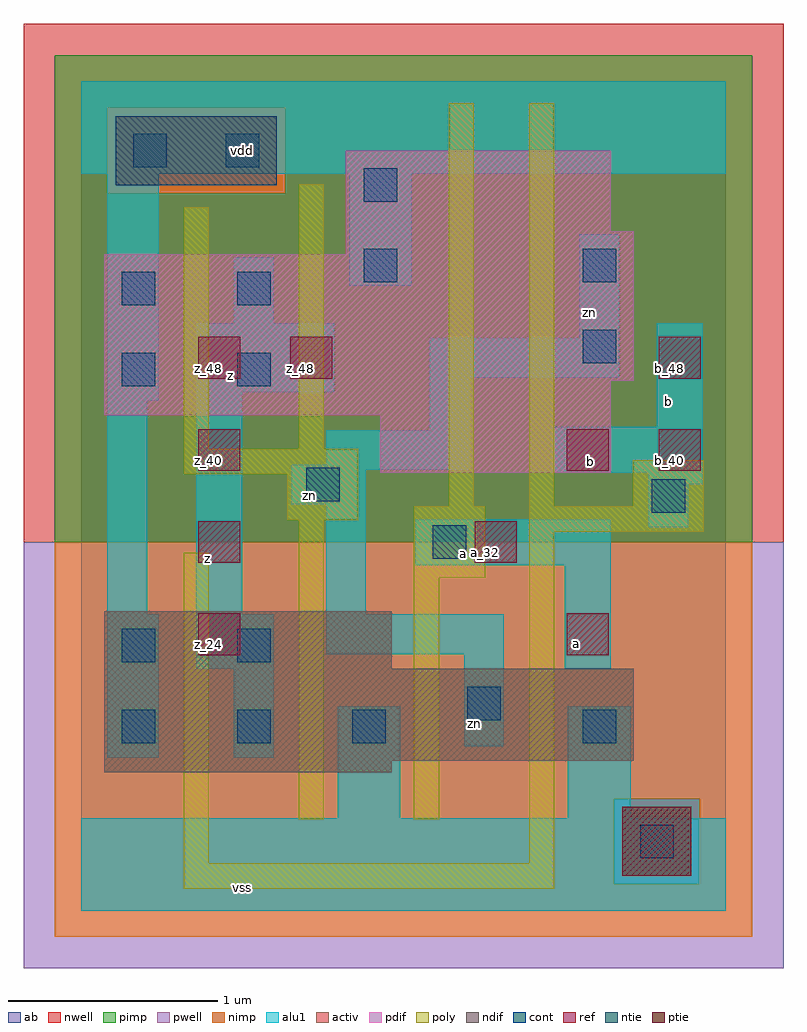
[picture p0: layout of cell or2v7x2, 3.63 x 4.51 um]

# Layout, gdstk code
import gdstk
lib = gdstk.Library(unit=1e-6, precision=2.5e-09)
def R(c, l, rs):  # rectangles x0, y0, x1, y1
    for r in rs: c.add(gdstk.rectangle(r[:2], r[2:], *l))
def A(c, l, x, y, w, h, nx, ny, dx, dy):  # array of equal rectangles
    R(c, l, [(x+i*dx, y+j*dy, x+i*dx+w, y+j*dy+h) for i in range(nx) for j in range(ny)])
ndif = (3, 0)
pdif = (4, 0)
ntie = (5, 0)
ptie = (6, 0)
ref = (24, 0)
cont = (25, 0)
pwell = (41, 0)
nwell = (42, 0)
activ = (43, 0)
pimp = (44, 0)
nimp = (45, 0)
poly = (46, 0)
alu1 = (49, 0)
ab = (63, 0)

or2v7x2 = lib.new_cell('or2v7x2')
R(or2v7x2, ndif, [(0.11,0.66,1.485,0.715), (0.11,0.715,2.64,1.155), (0.11,1.155,1.485,1.43)])
R(or2v7x2, pdif, [(1.43,2.09,2.53,2.365), (0.11,2.365,2.53,2.53), (0.11,2.53,2.64,3.135), (1.265,3.135,2.64,3.245), (1.265,3.245,2.53,3.63)])
R(or2v7x2, ntie, [(0.165,3.465,0.935,3.795)])
R(or2v7x2, ptie, [(2.585,0.165,2.915,0.495)])
A(or2v7x2, ref, 0.56, 1.22, 0.2, 0.2, 1, 4, 0, 0.44)
R(or2v7x2, ref, [(2.32,1.22,2.52,1.42), (1.88,1.66,2.08,1.86), (2.32,2.1,2.52,2.3), (2.76,2.1,2.96,2.3), (1,2.54,1.2,2.74), (2.76,2.54,2.96,2.74)])
A(or2v7x2, cont, 0.195, 0.8, 0.16, 0.16, 3, 1, 0.55, 0)
R(or2v7x2, cont, [(2.67,0.25,2.83,0.41), (2.395,0.8,2.555,0.96), (1.845,0.91,2.005,1.07), (0.195,1.185,0.355,1.345), (0.745,1.185,0.905,1.345), (1.68,1.68,1.84,1.84), (2.725,1.9,2.885,2.06), (1.075,1.955,1.235,2.115), (0.195,2.505,0.355,2.665), (0.745,2.505,0.905,2.665), (2.395,2.615,2.555,2.775), (0.195,2.89,0.355,3.05), (0.745,2.89,0.905,3.05), (1.35,3,1.51,3.16), (2.395,3,2.555,3.16), (1.35,3.385,1.51,3.545), (0.25,3.55,0.41,3.71), (0.69,3.55,0.85,3.71)])
R(or2v7x2, pwell, [(-0.275,-0.275,3.355,1.76)])
R(or2v7x2, nwell, [(-0.275,1.76,3.355,4.235)])
R(or2v7x2, activ, [(2.585,0.165,2.915,0.495), (0.11,0.66,1.485,0.715), (0.11,0.715,2.64,1.155), (0.11,1.155,1.485,1.43), (1.43,2.09,2.53,2.365), (0.11,2.365,2.53,2.53), (0.11,2.53,2.64,3.135), (1.265,3.135,2.64,3.245), (1.265,3.245,2.53,3.63), (0.165,3.465,0.935,3.795)])
R(or2v7x2, pimp, [(2.545,0.125,2.955,0.535), (-0.125,1.76,3.205,3.425), (-0.125,3.425,0.125,3.835), (0.975,3.425,3.205,3.835), (-0.125,3.835,3.205,4.085)])
R(or2v7x2, nimp, [(-0.125,-0.125,3.205,0.125), (-0.125,0.125,2.545,0.535), (2.955,0.125,3.205,0.535), (-0.125,0.535,3.205,1.76), (0.125,3.425,0.975,3.835)])
R(or2v7x2, poly, [(0.49,0.105,2.26,0.225), (0.49,0.225,0.61,1.71), (2.14,0.225,2.26,1.81), (1.04,0.435,1.16,1.865), (1.59,0.435,1.71,1.59), (1.59,1.59,1.93,1.93), (2.14,1.81,2.975,1.93), (0.985,1.865,1.325,2.085), (1.755,1.93,1.875,3.855), (2.14,1.93,2.26,3.855), (2.635,1.93,2.975,2.15), (0.49,2.085,1.325,2.205), (0.49,2.205,0.61,3.36), (1.04,2.205,1.16,3.47)])
R(or2v7x2, alu1, [(0,0,3.08,0.44), (1.225,0.44,1.525,0.975), (2.325,0.44,2.625,0.975), (0.125,0.73,0.37,1.415), (0.73,0.73,0.92,1.155), (1.83,0.785,2.02,1.225), (0.55,1.155,0.92,1.415), (2.31,1.155,2.53,1.65), (1.17,1.225,2.02,1.415), (0.125,1.415,0.315,2.435), (0.55,1.415,0.77,2.475), (1.17,1.415,1.36,1.94), (1.595,1.65,2.53,1.87), (2.71,1.83,2.9,2.035), (1.005,1.94,1.36,2.105), (2.71,2.035,2.97,2.09), (2.255,2.09,2.97,2.31), (1.005,2.105,1.855,2.13), (1.17,2.13,1.855,2.295), (1.665,2.295,1.855,2.545), (2.75,2.31,2.97,2.805), (0.125,2.435,0.37,3.52), (0.55,2.475,1.21,2.805), (1.665,2.545,2.57,2.735), (2.38,2.735,2.57,3.23), (0.73,2.805,0.92,3.12), (1.28,2.985,1.58,3.52), (0,3.52,3.08,3.96)])
R(or2v7x2, ab, [(0,0,3.08,3.96)])
or2v7x2.add(gdstk.Label('vss', (0.77,0.11), layer=49, texttype=0))
or2v7x2.add(gdstk.Label('a', (2.365,1.2775), layer=49, texttype=0))
or2v7x2.add(gdstk.Label('zn', (1.8775,0.895), layer=49, texttype=0))
or2v7x2.add(gdstk.Label('a', (1.8275,1.705), layer=49, texttype=0))
or2v7x2.add(gdstk.Label('b', (2.4325,2.145), layer=49, texttype=0))
or2v7x2.add(gdstk.Label('zn', (1.0925,1.98), layer=49, texttype=0))
or2v7x2.add(gdstk.Label('b', (2.805,2.4325), layer=49, texttype=0))
or2v7x2.add(gdstk.Label('z', (0.605,1.68), layer=49, texttype=0))
or2v7x2.add(gdstk.Label('zn', (2.4275,2.8575), layer=49, texttype=0))
or2v7x2.add(gdstk.Label('z', (0.715,2.5575), layer=49, texttype=0))
or2v7x2.add(gdstk.Label('vdd', (0.77,3.63), layer=49, texttype=0))
or2v7x2.add(gdstk.Label('z_24', (0.61,1.27), layer=24, texttype=0))
or2v7x2.add(gdstk.Label('z_32', (0.61,1.71), layer=24, texttype=0))
or2v7x2.add(gdstk.Label('z_40', (0.61,2.15), layer=24, texttype=0))
or2v7x2.add(gdstk.Label('z_48', (0.61,2.59), layer=24, texttype=0))
or2v7x2.add(gdstk.Label('z_48', (1.05,2.59), layer=24, texttype=0))
or2v7x2.add(gdstk.Label('a_32', (1.93,1.71), layer=24, texttype=0))
or2v7x2.add(gdstk.Label('a_24', (2.37,1.27), layer=24, texttype=0))
or2v7x2.add(gdstk.Label('b_40', (2.37,2.15), layer=24, texttype=0))
or2v7x2.add(gdstk.Label('b_40', (2.81,2.15), layer=24, texttype=0))
or2v7x2.add(gdstk.Label('b_48', (2.81,2.59), layer=24, texttype=0))

lib.write_gds('or2v7x2.gds')
